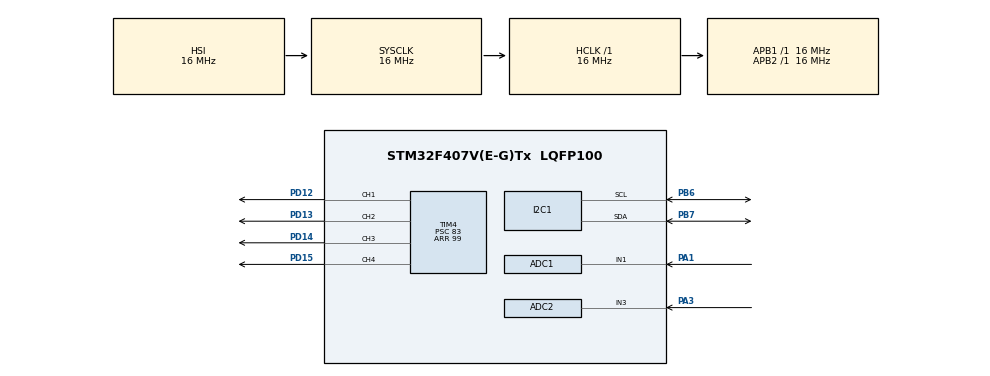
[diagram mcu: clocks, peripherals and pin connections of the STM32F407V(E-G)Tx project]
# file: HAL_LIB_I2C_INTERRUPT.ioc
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ADC1.Channel-1\#ChannelRegularConversion=ADC_CHANNEL_1
ADC1.ContinuousConvMode=ENABLE
ADC1.NbrOfConversionFlag=1
ADC1.Rank-1\#ChannelRegularConversion=1
ADC1.SamplingTime-1\#ChannelRegularConversion=ADC_SAMPLETIME_3CYCLES
ADC1.master=1
ADC2.Channel-0\#ChannelRegularConversion=ADC_CHANNEL_3
ADC2.NbrOfConversionFlag=1
ADC2.Rank-0\#ChannelRegularConversion=1
ADC2.SamplingTime-0\#ChannelRegularConversion=ADC_SAMPLETIME_3CYCLES
I2C1.I2C_Mode=I2C_Fast
Mcu.Family=STM32F4
Mcu.Name=STM32F407V(E-G)Tx
Mcu.Package=LQFP100
NVIC.I2C1_ER_IRQn=true\:0\:0\:false\:false\:true\:true\:true
NVIC.I2C1_EV_IRQn=true\:0\:0\:false\:false\:true\:true\:true
NVIC.PriorityGroup=NVIC_PRIORITYGROUP_4
PA1.Signal=ADCx_IN1
PA3.Signal=ADCx_IN3
PB6.Mode=I2C
PB6.Signal=I2C1_SCL
PB7.Mode=I2C
PB7.Signal=I2C1_SDA
PD12.Signal=S_TIM4_CH1
PD13.Signal=S_TIM4_CH2
PD14.Signal=S_TIM4_CH3
PD15.Signal=S_TIM4_CH4
PH0-OSC_IN.Mode=HSE-External-Oscillator
PH0-OSC_IN.Signal=RCC_OSC_IN
PH1-OSC_OUT.Mode=HSE-External-Oscillator
PH1-OSC_OUT.Signal=RCC_OSC_OUT
ProjectManager.HeapSize=0x200
ProjectManager.StackSize=0x400
ProjectManager.TargetToolchain=STM32CubeIDE
RCC.AHBFreq_Value=16000000
RCC.APB1Freq_Value=16000000
RCC.APB2Freq_Value=16000000
RCC.CortexFreq_Value=16000000
RCC.HSE_VALUE=25000000
RCC.HSI_VALUE=16000000
RCC.LSE_VALUE=32768
RCC.SYSCLKFreq_VALUE=16000000
RCC.VCOOutputFreq_Value=192000000
SH.ADCx_IN1.0=ADC1_IN1,IN1
SH.ADCx_IN3.0=ADC2_IN3,IN3
SH.S_TIM4_CH1.0=TIM4_CH1,PWM Generation1 CH1
SH.S_TIM4_CH2.0=TIM4_CH2,PWM Generation2 CH2
SH.S_TIM4_CH3.0=TIM4_CH3,PWM Generation3 CH3
SH.S_TIM4_CH4.0=TIM4_CH4,PWM Generation4 CH4
TIM4.Channel-PWM\ Generation1\ CH1=TIM_CHANNEL_1
TIM4.Channel-PWM\ Generation2\ CH2=TIM_CHANNEL_2
TIM4.Channel-PWM\ Generation3\ CH3=TIM_CHANNEL_3
TIM4.Channel-PWM\ Generation4\ CH4=TIM_CHANNEL_4
TIM4.Period=99
TIM4.Prescaler=83
board=custom

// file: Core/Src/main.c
/* USER CODE BEGIN Header */
/**
  ******************************************************************************
  * @file           : main.c
  * @brief          : Main program body
  ******************************************************************************
  * @attention
  *
  * <h2><center>&copy; Copyright (c) 2021 STMicroelectronics.
  * All rights reserved.</center></h2>
  *
  * This software component is licensed by ST under BSD 3-Clause license,
  * the "License"; You may not use this file except in compliance with the
  * License. You may obtain a copy of the License at:
  *                        opensource.org/licenses/BSD-3-Clause
  *
  ******************************************************************************
  */
/* USER CODE END Header */
#include "main.h"

/* USER CODE BEGIN Includes */
#define ADXL345_IIC_SLAVE 0xA6
uint16_t adc_deger1;
uint16_t adc_deger2;
/* USER CODE END Includes */

ADC_HandleTypeDef hadc1;
ADC_HandleTypeDef hadc2;

I2C_HandleTypeDef hi2c1;

TIM_HandleTypeDef htim4;

/* USER CODE BEGIN PV */
uint8_t i;
uint8_t datalar[6];
int16_t x,y,z;

/* USER CODE END PV */

void SystemClock_Config(void);
static void MX_GPIO_Init(void);
static void MX_I2C1_Init(void);
static void MX_TIM4_Init(void);
static void MX_ADC1_Init(void);
static void MX_ADC2_Init(void);
/* USER CODE BEGIN PFP */
void scani2c();

void ADXL_Yaz(uint8_t wregister, uint8_t value);
void ADXL_Oku(uint8_t rregister,uint8_t numberOfbytes);
void ADXL_Init();
/* USER CODE END PFP */

/* USER CODE BEGIN 0 */

void adcOku1(){
	HAL_ADC_Start(&hadc1);
	if(HAL_ADC_PollForConversion(&hadc1, 100000)==HAL_OK){
		adc_deger1 = HAL_ADC_GetValue(&hadc1);

		HAL_ADC_Stop(&hadc1);
	}
}

void adcOku2(){
	HAL_ADC_Start(&hadc2);
	if(HAL_ADC_PollForConversion(&hadc2, 100000)==HAL_OK){
		adc_deger2 = HAL_ADC_GetValue(&hadc2);

		HAL_ADC_Stop(&hadc2);
	}
}
void led1(uint32_t adc1){
	uint32_t a;
	a=adc1;
	  if (a < 400){
		  HAL_GPIO_WritePin(GPIOD, GPIO_PIN_12, GPIO_PIN_SET);
		  HAL_GPIO_WritePin(GPIOD, GPIO_PIN_14, GPIO_PIN_RESET);
	  }
	  else if(a > 600){
		  HAL_GPIO_WritePin(GPIOD, GPIO_PIN_12, GPIO_PIN_RESET);
		  HAL_GPIO_WritePin(GPIOD, GPIO_PIN_14, GPIO_PIN_SET);
	  }
	  else{
		  HAL_GPIO_WritePin(GPIOD, GPIO_PIN_12, GPIO_PIN_RESET);
		  HAL_GPIO_WritePin(GPIOD, GPIO_PIN_14, GPIO_PIN_RESET);
	  }

}
void led2(uint32_t adc2){
	uint32_t b;
	b=adc2;
	  if (b < 1800){
		  HAL_GPIO_WritePin(GPIOD, GPIO_PIN_13, GPIO_PIN_SET);
		  HAL_GPIO_WritePin(GPIOD, GPIO_PIN_15, GPIO_PIN_RESET);
	  }
	  else if(b > 2200){
		  HAL_GPIO_WritePin(GPIOD, GPIO_PIN_13, GPIO_PIN_RESET);
		  HAL_GPIO_WritePin(GPIOD, GPIO_PIN_15, GPIO_PIN_SET);
	  }
	  else {
		  HAL_GPIO_WritePin(GPIOD, GPIO_PIN_13, GPIO_PIN_RESET);
		  HAL_GPIO_WritePin(GPIOD, GPIO_PIN_15, GPIO_PIN_RESET);
	  }
}

void led12(int16_t h){
	if (h<-30){
	h = (h*-1);
	__HAL_TIM_SET_COMPARE(&htim4, TIM_CHANNEL_1, h);}
	else __HAL_TIM_SET_COMPARE(&htim4, TIM_CHANNEL_1,0);
}

void led13(int16_t u){
	if (u<-30){
	u = (u*-1);
	__HAL_TIM_SET_COMPARE(&htim4, TIM_CHANNEL_4, u);}
	else __HAL_TIM_SET_COMPARE(&htim4, TIM_CHANNEL_4,0);
}

void led14(int16_t k){
	if (k>30){
	__HAL_TIM_SET_COMPARE(&htim4, TIM_CHANNEL_3, k);}
	else __HAL_TIM_SET_COMPARE(&htim4, TIM_CHANNEL_3,0);
}

void led15(int16_t n){
	if (n>30){
	__HAL_TIM_SET_COMPARE(&htim4, TIM_CHANNEL_2, n);}
	else __HAL_TIM_SET_COMPARE(&htim4, TIM_CHANNEL_2,0);
}

/* USER CODE END 0 */

int main(void)
{

  /* MCU Configuration--------------------------------------------------------*/

  /* Reset of all peripherals, Initializes the Flash interface and the Systick. */
  HAL_Init();

  /* Configure the system clock */
  SystemClock_Config();

  /* Initialize all configured peripherals */
  MX_GPIO_Init();
  MX_I2C1_Init();
  MX_TIM4_Init();
  MX_ADC1_Init();
  MX_ADC2_Init();
  /* USER CODE BEGIN 2 */
  scani2c();

  ADXL_Init();

  HAL_TIM_PWM_Start(&htim4, TIM_CHANNEL_1); //ld12
  HAL_TIM_PWM_Start(&htim4, TIM_CHANNEL_2); //ld13
  HAL_TIM_PWM_Start(&htim4, TIM_CHANNEL_3); //ld14
  HAL_TIM_PWM_Start(&htim4, TIM_CHANNEL_4); //ld15

  /* USER CODE END 2 */

  /* Infinite loop */
  while (1)
  {

    /* USER CODE BEGIN 3 */

	  ADXL_Oku(0x32, 6);

	  x = (datalar[1] << 8) | datalar[0];
	  y = (datalar[3] << 8) | datalar[2];
	  z = (datalar[5] << 8) | datalar[4];

	 // dikLED(y); xler için if-if else bloğu
	  //yatLED(x); yler için if-if else bloğu yap
	  led12(x);
	  led13(y);
	  led14(x);
	  led15(y);
	  adcOku1();
	  adcOku2();
	  led1(adc_deger1);
	  led2(adc_deger2);

  }
  /* USER CODE END 3 */
}

void SystemClock_Config(void)
{
  RCC_OscInitTypeDef RCC_OscInitStruct = {0};
  RCC_ClkInitTypeDef RCC_ClkInitStruct = {0};

  /** Configure the main internal regulator output voltage
  */
  __HAL_RCC_PWR_CLK_ENABLE();
  __HAL_PWR_VOLTAGESCALING_CONFIG(PWR_REGULATOR_VOLTAGE_SCALE1);
  /** Initializes the RCC Oscillators according to the specified parameters
  * in the RCC_OscInitTypeDef structure.
  */
  RCC_OscInitStruct.OscillatorType = RCC_OSCILLATORTYPE_HSI;
  RCC_OscInitStruct.HSIState = RCC_HSI_ON;
  RCC_OscInitStruct.HSICalibrationValue = RCC_HSICALIBRATION_DEFAULT;
  RCC_OscInitStruct.PLL.PLLState = RCC_PLL_NONE;
  if (HAL_RCC_OscConfig(&RCC_OscInitStruct) != HAL_OK)
  {
    Error_Handler();
  }
  /** Initializes the CPU, AHB and APB buses clocks
  */
  RCC_ClkInitStruct.ClockType = RCC_CLOCKTYPE_HCLK|RCC_CLOCKTYPE_SYSCLK
                              |RCC_CLOCKTYPE_PCLK1|RCC_CLOCKTYPE_PCLK2;
  RCC_ClkInitStruct.SYSCLKSource = RCC_SYSCLKSOURCE_HSI;
  RCC_ClkInitStruct.AHBCLKDivider = RCC_SYSCLK_DIV1;
  RCC_ClkInitStruct.APB1CLKDivider = RCC_HCLK_DIV1;
  RCC_ClkInitStruct.APB2CLKDivider = RCC_HCLK_DIV1;

  if (HAL_RCC_ClockConfig(&RCC_ClkInitStruct, FLASH_LATENCY_0) != HAL_OK)
  {
    Error_Handler();
  }
}

static void MX_ADC1_Init(void)
{

  ADC_ChannelConfTypeDef sConfig = {0};

  /** Configure the global features of the ADC (Clock, Resolution, Data Alignment and number of conversion)
  */
  hadc1.Instance = ADC1;
  hadc1.Init.ClockPrescaler = ADC_CLOCK_SYNC_PCLK_DIV2;
  hadc1.Init.Resolution = ADC_RESOLUTION_12B;
  hadc1.Init.ScanConvMode = DISABLE;
  hadc1.Init.ContinuousConvMode = ENABLE;
  hadc1.Init.DiscontinuousConvMode = DISABLE;
  hadc1.Init.ExternalTrigConvEdge = ADC_EXTERNALTRIGCONVEDGE_NONE;
  hadc1.Init.ExternalTrigConv = ADC_SOFTWARE_START;
  hadc1.Init.DataAlign = ADC_DATAALIGN_RIGHT;
  hadc1.Init.NbrOfConversion = 1;
  hadc1.Init.DMAContinuousRequests = DISABLE;
  hadc1.Init.EOCSelection = ADC_EOC_SINGLE_CONV;
  if (HAL_ADC_Init(&hadc1) != HAL_OK)
  {
    Error_Handler();
  }
  /** Configure for the selected ADC regular channel its corresponding rank in the sequencer and its sample time.
  */
  sConfig.Channel = ADC_CHANNEL_1;
  sConfig.Rank = 1;
  sConfig.SamplingTime = ADC_SAMPLETIME_3CYCLES;
  if (HAL_ADC_ConfigChannel(&hadc1, &sConfig) != HAL_OK)
  {
    Error_Handler();
  }

}

static void MX_ADC2_Init(void)
{

  ADC_ChannelConfTypeDef sConfig = {0};

  /** Configure the global features of the ADC (Clock, Resolution, Data Alignment and number of conversion)
  */
  hadc2.Instance = ADC2;
  hadc2.Init.ClockPrescaler = ADC_CLOCK_SYNC_PCLK_DIV2;
  hadc2.Init.Resolution = ADC_RESOLUTION_12B;
  hadc2.Init.ScanConvMode = DISABLE;
  hadc2.Init.ContinuousConvMode = ENABLE;
  hadc2.Init.DiscontinuousConvMode = DISABLE;
  hadc2.Init.ExternalTrigConvEdge = ADC_EXTERNALTRIGCONVEDGE_NONE;
  hadc2.Init.ExternalTrigConv = ADC_SOFTWARE_START;
  hadc2.Init.DataAlign = ADC_DATAALIGN_RIGHT;
  hadc2.Init.NbrOfConversion = 1;
  hadc2.Init.DMAContinuousRequests = DISABLE;
  hadc2.Init.EOCSelection = ADC_EOC_SINGLE_CONV;
  if (HAL_ADC_Init(&hadc2) != HAL_OK)
  {
    Error_Handler();
  }
  /** Configure for the selected ADC regular channel its corresponding rank in the sequencer and its sample time.
  */
  sConfig.Channel = ADC_CHANNEL_3;
  sConfig.Rank = 1;
  sConfig.SamplingTime = ADC_SAMPLETIME_3CYCLES;
  if (HAL_ADC_ConfigChannel(&hadc2, &sConfig) != HAL_OK)
  {
    Error_Handler();
  }

}

static void MX_I2C1_Init(void)
{

  hi2c1.Instance = I2C1;
  hi2c1.Init.ClockSpeed = 400000;
  hi2c1.Init.DutyCycle = I2C_DUTYCYCLE_2;
  hi2c1.Init.OwnAddress1 = 0;
  hi2c1.Init.AddressingMode = I2C_ADDRESSINGMODE_7BIT;
  hi2c1.Init.DualAddressMode = I2C_DUALADDRESS_DISABLE;
  hi2c1.Init.OwnAddress2 = 0;
  hi2c1.Init.GeneralCallMode = I2C_GENERALCALL_DISABLE;
  hi2c1.Init.NoStretchMode = I2C_NOSTRETCH_DISABLE;
  if (HAL_I2C_Init(&hi2c1) != HAL_OK)
  {
    Error_Handler();
  }

}

static void MX_TIM4_Init(void)
{

  TIM_MasterConfigTypeDef sMasterConfig = {0};
  TIM_OC_InitTypeDef sConfigOC = {0};

  htim4.Instance = TIM4;
  htim4.Init.Prescaler = 83;
  htim4.Init.CounterMode = TIM_COUNTERMODE_UP;
  htim4.Init.Period = 99;
  htim4.Init.ClockDivision = TIM_CLOCKDIVISION_DIV1;
  htim4.Init.AutoReloadPreload = TIM_AUTORELOAD_PRELOAD_DISABLE;
  if (HAL_TIM_PWM_Init(&htim4) != HAL_OK)
  {
    Error_Handler();
  }
  sMasterConfig.MasterOutputTrigger = TIM_TRGO_RESET;
  sMasterConfig.MasterSlaveMode = TIM_MASTERSLAVEMODE_DISABLE;
  if (HAL_TIMEx_MasterConfigSynchronization(&htim4, &sMasterConfig) != HAL_OK)
  {
    Error_Handler();
  }
  sConfigOC.OCMode = TIM_OCMODE_PWM1;
  sConfigOC.Pulse = 0;
  sConfigOC.OCPolarity = TIM_OCPOLARITY_HIGH;
  sConfigOC.OCFastMode = TIM_OCFAST_DISABLE;
  if (HAL_TIM_PWM_ConfigChannel(&htim4, &sConfigOC, TIM_CHANNEL_1) != HAL_OK)
  {
    Error_Handler();
  }
  if (HAL_TIM_PWM_ConfigChannel(&htim4, &sConfigOC, TIM_CHANNEL_2) != HAL_OK)
  {
    Error_Handler();
  }
  if (HAL_TIM_PWM_ConfigChannel(&htim4, &sConfigOC, TIM_CHANNEL_3) != HAL_OK)
  {
    Error_Handler();
  }
  if (HAL_TIM_PWM_ConfigChannel(&htim4, &sConfigOC, TIM_CHANNEL_4) != HAL_OK)
  {
    Error_Handler();
  }
  HAL_TIM_MspPostInit(&htim4);

}

static void MX_GPIO_Init(void)
{

  /* GPIO Ports Clock Enable */
  __HAL_RCC_GPIOH_CLK_ENABLE();
  __HAL_RCC_GPIOA_CLK_ENABLE();
  __HAL_RCC_GPIOD_CLK_ENABLE();
  __HAL_RCC_GPIOB_CLK_ENABLE();

}

/* USER CODE BEGIN 4 */
void scani2c(){
	for(i=0; i<256;i++){
		if(HAL_I2C_IsDeviceReady(&hi2c1, i, 1, 10)==HAL_OK){
			break;
		}
	}
}
void ADXL_Yaz(uint8_t wregister, uint8_t value){
	uint8_t veri[2] = {0} ;
	veri[0] = wregister;
	veri[1] = value;
	HAL_I2C_Master_Transmit(&hi2c1, ADXL345_IIC_SLAVE, veri, 2, 100);

}

void ADXL_Oku(uint8_t rregister,uint8_t numberOfbytes){
	HAL_I2C_Mem_Read(&hi2c1, ADXL345_IIC_SLAVE, rregister, 1, datalar, numberOfbytes, 100);
}

void ADXL_Init(){
	ADXL_Oku(0x00,1);

	ADXL_Yaz(0x2D, 0);

	ADXL_Yaz(0x2D, 0x08);
	ADXL_Yaz(0x31, 0x01);
}
/* USER CODE END 4 */

void Error_Handler(void)
{
  __disable_irq();
  while (1)
  {
  }
}

/************************ (C) COPYRIGHT STMicroelectronics *****END OF FILE****/
